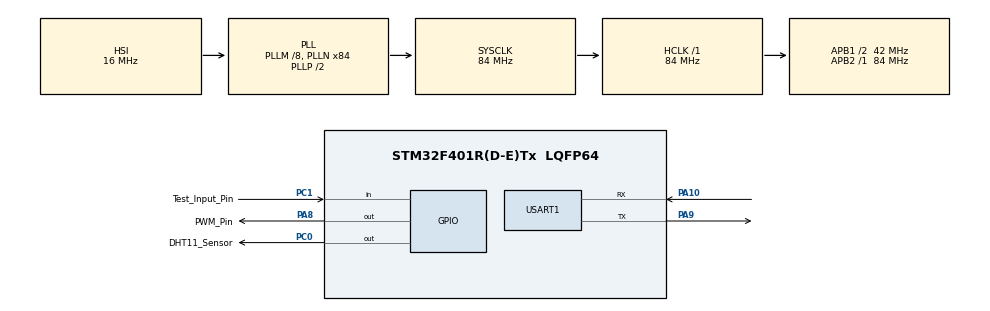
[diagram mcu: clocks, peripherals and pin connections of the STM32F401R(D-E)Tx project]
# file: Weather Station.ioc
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Mcu.Family=STM32F4
Mcu.Name=STM32F401R(D-E)Tx
Mcu.Package=LQFP64
NVIC.PriorityGroup=NVIC_PRIORITYGROUP_4
NVIC.USART1_IRQn=true\:0\:0\:false\:false\:true\:true\:true\:true
PA10.Mode=Asynchronous
PA10.Signal=USART1_RX
PA8.GPIO_Label=PWM_Pin
PA8.Signal=GPIO_Output
PA9.Mode=Asynchronous
PA9.Signal=USART1_TX
PC0.GPIO_Label=DHT11_Sensor
PC0.PinState=GPIO_PIN_SET
PC0.Signal=GPIO_Output
PC1.GPIO_Label=Test_Input_Pin
PC1.Signal=GPIO_Input
ProjectManager.HeapSize=0x200
ProjectManager.StackSize=0x400
ProjectManager.TargetToolchain=STM32CubeIDE
RCC.48MHZClocksFreq_Value=42000000
RCC.AHBFreq_Value=84000000
RCC.APB1CLKDivider=RCC_HCLK_DIV2
RCC.APB1Freq_Value=42000000
RCC.APB1TimFreq_Value=84000000
RCC.APB2Freq_Value=84000000
RCC.APB2TimFreq_Value=84000000
RCC.CortexFreq_Value=84000000
RCC.HCLKFreq_Value=84000000
RCC.HSE_VALUE=25000000
RCC.HSI_VALUE=16000000
RCC.LSE_VALUE=32768
RCC.PLLM=8
RCC.PLLN=84
RCC.SYSCLKFreq_VALUE=84000000
RCC.SYSCLKSource=RCC_SYSCLKSOURCE_PLLCLK
RCC.VCOOutputFreq_Value=168000000
TIM1.Period=0xffff - 1
TIM1.Prescaler=84 - 1
USART1.VirtualMode=VM_ASYNC
VP_TIM1_VS_ClockSourceINT.Mode=Internal
board=custom

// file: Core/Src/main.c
/* USER CODE BEGIN Header */
/**
  ******************************************************************************
  * @file           : main.c
  * @brief          : Main program body
  ******************************************************************************
  * @attention
  *
  * Copyright (c) 2024 STMicroelectronics.
  * All rights reserved.
  *
  * This software is licensed under terms that can be found in the LICENSE file
  * in the root directory of this software component.
  * If no LICENSE file comes with this software, it is provided AS-IS.
  *
  ******************************************************************************
  */
/* USER CODE END Header */
#include "main.h"

/* USER CODE BEGIN Includes */
#include "dht11.h"
#include "uart.h"
#include "gpio.h"
#include "timer.h"
#include "hw_init.h"

/* USER CODE END Includes */

TIM_HandleTypeDef htim1;

UART_HandleTypeDef huart1;

void SystemClock_Config(void);
static void MX_GPIO_Init(void);
static void MX_TIM1_Init(void);
static void MX_USART1_UART_Init(void);

/* USER CODE BEGIN 0 */
gpio_t hw_init = {
	.dht11_port = DHT11_Sensor_GPIO_Port,
	.dht11_pin = DHT11_Sensor_Pin
};

/* USER CODE END 0 */

int main(void)
{

  /* MCU Configuration--------------------------------------------------------*/

  /* Reset of all peripherals, Initializes the Flash interface and the Systick. */
  HAL_Init();

  /* Configure the system clock */
  SystemClock_Config();

  /* Initialize all configured peripherals */
  MX_GPIO_Init();
  MX_TIM1_Init();
  MX_USART1_UART_Init();
  /* USER CODE BEGIN 2 */

  initModules();

  /* USER CODE END 2 */

  /* Infinite loop */
  /* USER CODE BEGIN WHILE */
   while (1)
   {

	  dht11_readoutSensor();
	  HAL_Delay(2000);

    /* USER CODE END WHILE */

  }
}

void SystemClock_Config(void)
{
  RCC_OscInitTypeDef RCC_OscInitStruct = {0};
  RCC_ClkInitTypeDef RCC_ClkInitStruct = {0};

  /** Configure the main internal regulator output voltage
  */
  __HAL_RCC_PWR_CLK_ENABLE();
  __HAL_PWR_VOLTAGESCALING_CONFIG(PWR_REGULATOR_VOLTAGE_SCALE2);

  /** Initializes the RCC Oscillators according to the specified parameters
  * in the RCC_OscInitTypeDef structure.
  */
  RCC_OscInitStruct.OscillatorType = RCC_OSCILLATORTYPE_HSI;
  RCC_OscInitStruct.HSIState = RCC_HSI_ON;
  RCC_OscInitStruct.HSICalibrationValue = RCC_HSICALIBRATION_DEFAULT;
  RCC_OscInitStruct.PLL.PLLState = RCC_PLL_ON;
  RCC_OscInitStruct.PLL.PLLSource = RCC_PLLSOURCE_HSI;
  RCC_OscInitStruct.PLL.PLLM = 8;
  RCC_OscInitStruct.PLL.PLLN = 84;
  RCC_OscInitStruct.PLL.PLLP = RCC_PLLP_DIV2;
  RCC_OscInitStruct.PLL.PLLQ = 4;
  if (HAL_RCC_OscConfig(&RCC_OscInitStruct) != HAL_OK)
  {
    Error_Handler();
  }

  /** Initializes the CPU, AHB and APB buses clocks
  */
  RCC_ClkInitStruct.ClockType = RCC_CLOCKTYPE_HCLK|RCC_CLOCKTYPE_SYSCLK
                              |RCC_CLOCKTYPE_PCLK1|RCC_CLOCKTYPE_PCLK2;
  RCC_ClkInitStruct.SYSCLKSource = RCC_SYSCLKSOURCE_PLLCLK;
  RCC_ClkInitStruct.AHBCLKDivider = RCC_SYSCLK_DIV1;
  RCC_ClkInitStruct.APB1CLKDivider = RCC_HCLK_DIV2;
  RCC_ClkInitStruct.APB2CLKDivider = RCC_HCLK_DIV1;

  if (HAL_RCC_ClockConfig(&RCC_ClkInitStruct, FLASH_LATENCY_2) != HAL_OK)
  {
    Error_Handler();
  }
}

static void MX_TIM1_Init(void)
{

  TIM_ClockConfigTypeDef sClockSourceConfig = {0};
  TIM_MasterConfigTypeDef sMasterConfig = {0};

  htim1.Instance = TIM1;
  htim1.Init.Prescaler = 84 - 1;
  htim1.Init.CounterMode = TIM_COUNTERMODE_UP;
  htim1.Init.Period = 0xffff - 1;
  htim1.Init.ClockDivision = TIM_CLOCKDIVISION_DIV1;
  htim1.Init.RepetitionCounter = 0;
  htim1.Init.AutoReloadPreload = TIM_AUTORELOAD_PRELOAD_DISABLE;
  if (HAL_TIM_Base_Init(&htim1) != HAL_OK)
  {
    Error_Handler();
  }
  sClockSourceConfig.ClockSource = TIM_CLOCKSOURCE_INTERNAL;
  if (HAL_TIM_ConfigClockSource(&htim1, &sClockSourceConfig) != HAL_OK)
  {
    Error_Handler();
  }
  sMasterConfig.MasterOutputTrigger = TIM_TRGO_RESET;
  sMasterConfig.MasterSlaveMode = TIM_MASTERSLAVEMODE_DISABLE;
  if (HAL_TIMEx_MasterConfigSynchronization(&htim1, &sMasterConfig) != HAL_OK)
  {
    Error_Handler();
  }

}

static void MX_USART1_UART_Init(void)
{

  huart1.Instance = USART1;
  huart1.Init.BaudRate = 115200;
  huart1.Init.WordLength = UART_WORDLENGTH_8B;
  huart1.Init.StopBits = UART_STOPBITS_1;
  huart1.Init.Parity = UART_PARITY_NONE;
  huart1.Init.Mode = UART_MODE_TX_RX;
  huart1.Init.HwFlowCtl = UART_HWCONTROL_NONE;
  huart1.Init.OverSampling = UART_OVERSAMPLING_16;
  if (HAL_UART_Init(&huart1) != HAL_OK)
  {
    Error_Handler();
  }

}

static void MX_GPIO_Init(void)
{
  GPIO_InitTypeDef GPIO_InitStruct = {0};

  /* GPIO Ports Clock Enable */
  __HAL_RCC_GPIOC_CLK_ENABLE();
  __HAL_RCC_GPIOA_CLK_ENABLE();

  /*Configure GPIO pin Output Level */
  HAL_GPIO_WritePin(DHT11_Sensor_GPIO_Port, DHT11_Sensor_Pin, GPIO_PIN_SET);

  /*Configure GPIO pin Output Level */
  HAL_GPIO_WritePin(PWM_Pin_GPIO_Port, PWM_Pin_Pin, GPIO_PIN_RESET);

  /*Configure GPIO pin : DHT11_Sensor_Pin */
  GPIO_InitStruct.Pin = DHT11_Sensor_Pin;
  GPIO_InitStruct.Mode = GPIO_MODE_OUTPUT_PP;
  GPIO_InitStruct.Pull = GPIO_NOPULL;
  GPIO_InitStruct.Speed = GPIO_SPEED_FREQ_LOW;
  HAL_GPIO_Init(DHT11_Sensor_GPIO_Port, &GPIO_InitStruct);

  /*Configure GPIO pin : Test_Input_Pin_Pin */
  GPIO_InitStruct.Pin = Test_Input_Pin_Pin;
  GPIO_InitStruct.Mode = GPIO_MODE_INPUT;
  GPIO_InitStruct.Pull = GPIO_NOPULL;
  HAL_GPIO_Init(Test_Input_Pin_GPIO_Port, &GPIO_InitStruct);

  /*Configure GPIO pin : PWM_Pin_Pin */
  GPIO_InitStruct.Pin = PWM_Pin_Pin;
  GPIO_InitStruct.Mode = GPIO_MODE_OUTPUT_PP;
  GPIO_InitStruct.Pull = GPIO_NOPULL;
  GPIO_InitStruct.Speed = GPIO_SPEED_FREQ_LOW;
  HAL_GPIO_Init(PWM_Pin_GPIO_Port, &GPIO_InitStruct);

}

/* USER CODE BEGIN 4 */

void initModules(void) {
	// Handover HW Pins
	hw_init_pins(&hw_init);

	//Start timer and handover timer
	HAL_TIM_Base_Start(&htim1);
	timer_initTimer(&htim1);

	// Handover uart
	uart_initUart(&huart1);

}
/* USER CODE END 4 */

void Error_Handler(void)
{
  __disable_irq();
  while (1)
  {
  }
}
